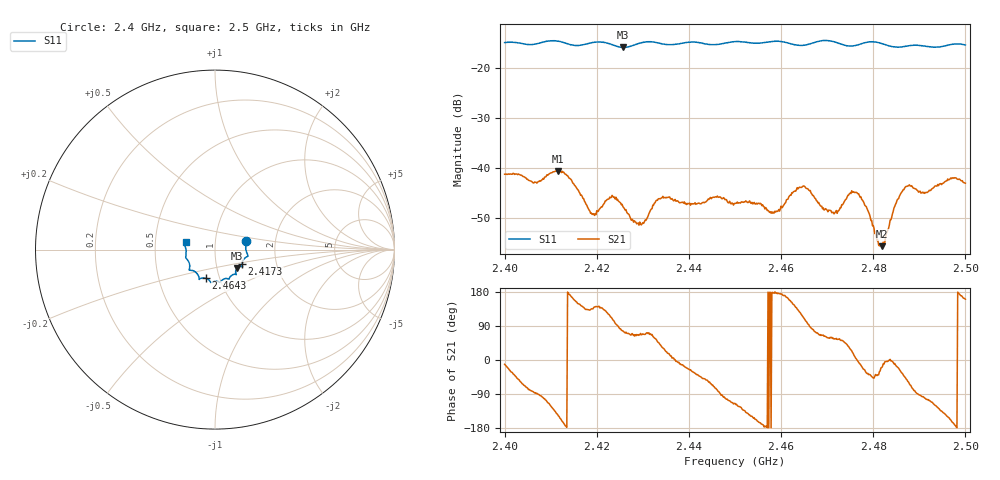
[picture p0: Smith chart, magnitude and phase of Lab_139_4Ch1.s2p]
# Hz S RI R 50
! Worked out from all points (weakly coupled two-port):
!   601 points, 2.4 GHz to 2.5 GHz, reference 50 ohm
!   highest |S21| = -40.68 dB at 2.4115 GHz (marker M1); lowest = -55.7 dB at 2.4818 GHz (marker M2)
!   lowest |S11| = -15.9 dB at 2.4257 GHz (marker M3), VSWR 1.38, Z = 62.5 - j13.1 ohm
!   |S11| at or under -10 dB: start of sweep to end of sweep
!   S12 and S22 are empty: the file has one direction only
!   S11 on the Smith chart (normalised r, x): 2.4 GHz: 1.41, +0.14; 2.4173 GHz: 1.34, -0.22; 2.4643 GHz: 0.86, -0.28; 2.5 GHz: 0.72, +0.06
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2.4e9  0.1724 0.0493  0.00843 -0.00168  0 0  0 0
2.406667e9  0.1728 -0.00597  0.000464 -0.00713  0 0  0 0
2.4115e9  0.1821 -0.0373  -0.00747 -0.00545  0 0  0 0
2.416667e9  0.1522 -0.0742  -0.00422 0.00323  0 0  0 0
2.417333e9  0.1513 -0.0815  -0.00335 0.00317  0 0  0 0
2.419333e9  0.1529 -0.0956  -0.00258 0.00229  0 0  0 0
2.423333e9  0.1433 -0.0937  -0.00174 0.00498  0 0  0 0
2.425667e9  0.1233 -0.1023  0.000929 0.00397  0 0  0 0
2.429667e9  0.1168 -0.1353  0.00106 0.00245  0 0  0 0
2.433333e9  0.1127 -0.1376  0.00336 0.00353  0 0  0 0
2.45e9  0.0291 -0.1811  -0.00183 -0.004  0 0  0 0
2.458667e9  -0.0215 -0.1835  -0.00366 1.37e-05  0 0  0 0
2.464333e9  -0.0496 -0.1603  -0.00327 0.00542  0 0  0 0
2.466667e9  -0.0756 -0.1594  0.000671 0.00541  0 0  0 0
2.471667e9  -0.0878 -0.1592  0.00197 0.00293  0 0  0 0
2.4765e9  -0.1218 -0.1175  0.00559 -4.72e-05  0 0  0 0
2.481833e9  -0.1416 -0.1035  0.00154 -0.000556  0 0  0 0
2.483333e9  -0.1408 -0.0896  0.00247 -5.2e-05  0 0  0 0
2.487333e9  -0.157 -0.0537  0.00396 -0.00516  0 0  0 0
2.490833e9  -0.1624 -0.0355  -0.000645 -0.00554  0 0  0 0
2.497167e9  -0.1703 0.0277  -0.00759 -0.00213  0 0  0 0
2.5e9  -0.1642 0.0429  -0.00657 0.00235  0 0  0 0
